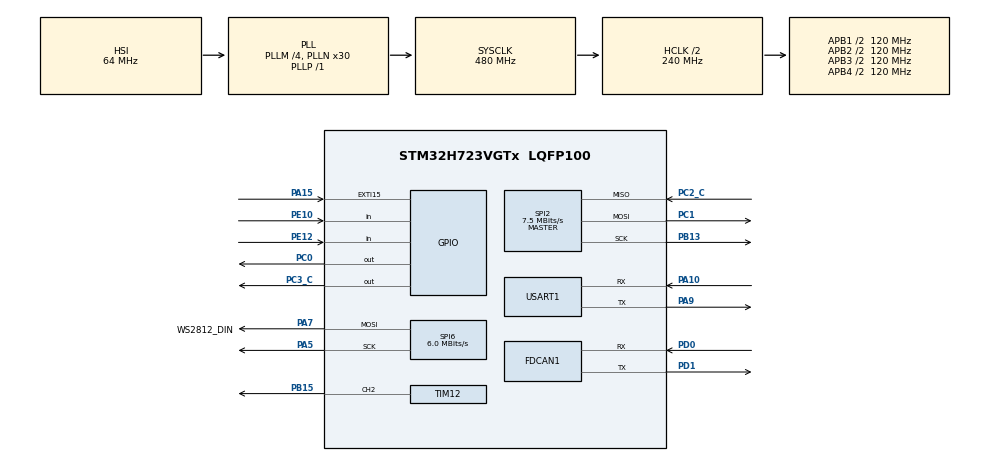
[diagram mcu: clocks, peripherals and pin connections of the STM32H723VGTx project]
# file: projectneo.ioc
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CORTEX_M7.default_mode_Activation=1
FDCAN1.CalculateBaudRateNominal=1000000
FDCAN1.CalculateTimeBitNominal=1000
FDCAN1.CalculateTimeQuantumNominal=41.666666666666664
FDCAN1.DataPrescaler=6
FDCAN1.DataTimeSeg1=29
FDCAN1.DataTimeSeg2=10
FDCAN1.NominalPrescaler=1
FDCAN1.NominalSyncJumpWidth=6
FDCAN1.NominalTimeSeg1=17
FDCAN1.NominalTimeSeg2=6
FDCAN1.RxFifo0ElmtsNbr=3
FDCAN1.TxFifoQueueElmtsNbr=3
FREERTOS.Queues01=can_rxQueue,16,uint16_t,0,Dynamic,NULL,NULL
FREERTOS.Tasks01=Task1,32,512,StartDefaultTask1,Default,NULL,Dynamic,NULL,NULL;Task2,24,512,StartTask2,Default,NULL,Dynamic,NULL,NULL;LEDTask,24,256,StartLEDTask,Default,NULL,Dynamic,NULL,NULL;IMUTask,32,512,StartIMUTask,Default,NULL,Dynamic,NULL,NULL;PIDTask,32,512,StartPIDTask,Default,NULL,Dynamic,NULL,NULL;CANTxTask,32,512,CANTxStartTask,Default,NULL,Dynamic,NULL,NULL;CANRxTask,40,256,CANRxStartTask,Default,NULL,Dynamic,NULL,NULL
FREERTOS.configTOTAL_HEAP_SIZE=32768
Mcu.Family=STM32H7
Mcu.Name=STM32H723VGTx
Mcu.Package=LQFP100
NVIC.EXTI15_10_IRQn=true\:5\:0\:false\:false\:true\:true\:true\:true\:true
NVIC.FDCAN1_IT0_IRQn=true\:5\:0\:false\:false\:true\:true\:true\:true\:true
NVIC.PriorityGroup=NVIC_PRIORITYGROUP_4
NVIC.USART1_IRQn=true\:5\:0\:false\:false\:true\:true\:true\:true\:true
PA10.Mode=Asynchronous
PA10.Signal=USART1_RX
PA13(JTMS/SWDIO).Signal=DEBUG_JTMS-SWDIO
PA14(JTCK/SWCLK).Signal=DEBUG_JTCK-SWCLK
PA15(JTDI).GPIO_PuPd=GPIO_PULLDOWN
PA15(JTDI).Signal=GPXTI15
PA5.GPIO_Speed=GPIO_SPEED_FREQ_HIGH
PA5.Mode=TX_Only_Simplex_Unidirect_Master
PA5.Signal=SPI6_SCK
PA7.GPIO_Label=WS2812_DIN
PA7.GPIO_Speed=GPIO_SPEED_FREQ_HIGH
PA7.Mode=TX_Only_Simplex_Unidirect_Master
PA7.Signal=SPI6_MOSI
PA9.Mode=Asynchronous
PA9.Signal=USART1_TX
PB13.Mode=Full_Duplex_Master
PB13.Signal=SPI2_SCK
PB15.Signal=S_TIM12_CH2
PC0.PinState=GPIO_PIN_SET
PC0.Signal=GPIO_Output
PC1.Mode=Full_Duplex_Master
PC1.Signal=SPI2_MOSI
PC2_C.Mode=Full_Duplex_Master
PC2_C.Signal=SPI2_MISO
PC3_C.PinState=GPIO_PIN_SET
PC3_C.Signal=GPIO_Output
PD0.Mode=FDCAN_Activate
PD0.Signal=FDCAN1_RX
PD1.Mode=FDCAN_Activate
PD1.Signal=FDCAN1_TX
PE10.Signal=GPIO_Input
PE12.Signal=GPIO_Input
PH0-OSC_IN.Mode=HSE-External-Oscillator
PH0-OSC_IN.Signal=RCC_OSC_IN
PH1-OSC_OUT.Mode=HSE-External-Oscillator
PH1-OSC_OUT.Signal=RCC_OSC_OUT
ProjectManager.HeapSize=0x200
ProjectManager.StackSize=0x400
ProjectManager.TargetToolchain=CMake
RCC.ADCFreq_Value=129000000
RCC.APB1Freq_Value=120000000
RCC.APB2Freq_Value=120000000
RCC.APB3Freq_Value=120000000
RCC.APB4Freq_Value=120000000
RCC.CortexFreq_Value=480000000
RCC.D1PPRE=RCC_APB3_DIV2
RCC.D2PPRE1=RCC_APB1_DIV2
RCC.D2PPRE2=RCC_APB2_DIV2
RCC.D3PPRE=RCC_APB4_DIV2
RCC.DIVM1=4
RCC.DIVN1=30
RCC.DIVP1=1
RCC.FDCANCLockSelection=RCC_FDCANCLKSOURCE_HSE
RCC.HCLKFreq_Value=240000000
RCC.HPRE=RCC_HCLK_DIV2
RCC.HSE_VALUE=24000000
RCC.PLL2FRACN=0
RCC.PLL3FRACN=0
RCC.PLLFRACN=0
RCC.SPI6CLockSelection=RCC_SPI6CLKSOURCE_HSE
RCC.SYSCLKFreq_VALUE=480000000
RCC.SYSCLKSource=RCC_SYSCLKSOURCE_PLLCLK
RCC.USBFreq_Value=240000000
SH.S_TIM12_CH2.0=TIM12_CH2,PWM Generation2 CH2
SPI2.BaudRatePrescaler=SPI_BAUDRATEPRESCALER_32
SPI2.CLKPhase=SPI_PHASE_2EDGE
SPI2.CLKPolarity=SPI_POLARITY_HIGH
SPI2.CalculateBaudRate=7.5 MBits/s
SPI2.DataSize=SPI_DATASIZE_8BIT
SPI2.Direction=SPI_DIRECTION_2LINES
SPI2.Mode=SPI_MODE_MASTER
SPI2.VirtualType=VM_MASTER
SPI6.BaudRatePrescaler=SPI_BAUDRATEPRESCALER_4
SPI6.CalculateBaudRate=6.0 MBits/s
SPI6.DataSize=SPI_DATASIZE_8BIT
SPI6.Direction=SPI_DIRECTION_2LINES_TXONLY
SPI6.Mode=SPI_MODE_MASTER
SPI6.VirtualType=VM_MASTER
TIM12.Channel-PWM\ Generation2\ CH2=TIM_CHANNEL_2
TIM12.Prescaler=59
USART1.VirtualMode-Asynchronous=VM_ASYNC
VP_FREERTOS_VS_CMSIS_V2.Mode=CMSIS_V2
VP_MEMORYMAP_VS_MEMORYMAP.Mode=CurAppReg
board=custom

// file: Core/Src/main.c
/* USER CODE BEGIN Header */
/**
  ******************************************************************************
  * @file           : main.c
  * @brief          : Main program body
  ******************************************************************************
  * @attention
  *
  * Copyright (c) 2026 STMicroelectronics.
  * All rights reserved.
  *
  * This software is licensed under terms that can be found in the LICENSE file
  * in the root directory of this software component.
  * If no LICENSE file comes with this software, it is provided AS-IS.
  *
  ******************************************************************************
  */
/* USER CODE END Header */
#include "main.h"
#include "FreeRTOS.h"
#include "cmsis_os2.h"

/* USER CODE BEGIN Includes */
#include "bsp_led.h"
#include "../../Component/ENCODE_WS2812/ws2812_encode.h"
#include "../../BSP/BUZZER/bsp_buzzer.h"
#include "bsp_uart.h"
#include "bsp_imu.h"
#include "bsp_can.h"
#include "pid.h"
#include "gm6020.h"
#include "FreeRTOS.h"
/* USER CODE END Includes */

FDCAN_HandleTypeDef hfdcan1;

SPI_HandleTypeDef hspi2;
SPI_HandleTypeDef hspi6;

TIM_HandleTypeDef htim12;

UART_HandleTypeDef huart1;

/* Definitions for Task1 */
osThreadId_t Task1Handle;
const osThreadAttr_t Task1_attributes = {
  .name = "Task1",
  .stack_size = 512 * 4,
  .priority = (osPriority_t) osPriorityAboveNormal,
};
/* Definitions for Task2 */
osThreadId_t Task2Handle;
const osThreadAttr_t Task2_attributes = {
  .name = "Task2",
  .stack_size = 512 * 4,
  .priority = (osPriority_t) osPriorityNormal,
};
/* Definitions for LEDTask */
osThreadId_t LEDTaskHandle;
const osThreadAttr_t LEDTask_attributes = {
  .name = "LEDTask",
  .stack_size = 256 * 4,
  .priority = (osPriority_t) osPriorityNormal,
};
/* Definitions for IMUTask */
osThreadId_t IMUTaskHandle;
const osThreadAttr_t IMUTask_attributes = {
  .name = "IMUTask",
  .stack_size = 512 * 4,
  .priority = (osPriority_t) osPriorityAboveNormal,
};
/* Definitions for PIDTask */
osThreadId_t PIDTaskHandle;
const osThreadAttr_t PIDTask_attributes = {
  .name = "PIDTask",
  .stack_size = 512 * 4,
  .priority = (osPriority_t) osPriorityAboveNormal,
};
/* Definitions for CANTxTask */
osThreadId_t CANTxTaskHandle;
const osThreadAttr_t CANTxTask_attributes = {
  .name = "CANTxTask",
  .stack_size = 512 * 4,
  .priority = (osPriority_t) osPriorityAboveNormal,
};
/* Definitions for CANRxTask */
osThreadId_t CANRxTaskHandle;
const osThreadAttr_t CANRxTask_attributes = {
  .name = "CANRxTask",
  .stack_size = 256 * 4,
  .priority = (osPriority_t) osPriorityHigh,
};
/* Definitions for can_rxQueue */
osMessageQueueId_t can_rxQueueHandle;
const osMessageQueueAttr_t can_rxQueue_attributes = {
  .name = "can_rxQueue"
};
/* USER CODE BEGIN PV */
extern GM6020_Feedback_t gm6020_feedback_t;
/* USER CODE END PV */

void SystemClock_Config(void);
static void MPU_Config(void);
static void MX_GPIO_Init(void);
static void MX_TIM12_Init(void);
static void MX_USART1_UART_Init(void);
static void MX_SPI6_Init(void);
static void MX_SPI2_Init(void);
static void MX_FDCAN1_Init(void);
void StartDefaultTask1(void *argument);
void StartTask2(void *argument);
void StartLEDTask(void *argument);
void StartIMUTask(void *argument);
void StartPIDTask(void *argument);
void CANTxStartTask(void *argument);
void CANRxStartTask(void *argument);

/* USER CODE BEGIN 0 */
volatile uint32_t flag=0;
uint32_t lost=0,sent=0;
volatile uint16_t motor_cmd_i=0;
/* USER CODE END 0 */

int main(void)
{

  /* MPU Configuration--------------------------------------------------------*/
  MPU_Config();

  /* MCU Configuration--------------------------------------------------------*/

  /* Reset of all peripherals, Initializes the Flash interface and the Systick. */
  HAL_Init();

  /* Configure the system clock */
  SystemClock_Config();

  /* Initialize all configured peripherals */
  MX_GPIO_Init();
  MX_TIM12_Init();
  MX_USART1_UART_Init();
  MX_SPI6_Init();
  MX_SPI2_Init();
  MX_FDCAN1_Init();
  /* USER CODE BEGIN 2 */
  uint8_t tx_byte='D';
  bsp_uart_init();
  bsp_buzzer_init();
  bsp_led_boot();
  bsp_led_set(0,0,255);
  static uint32_t color_tick=0;
  static uint8_t  color_active = 0;
  static uint32_t imu_tick=0;
  uint8_t rx_chunk[32];
  int imu_ret=bsp_imu_init();
  if (imu_ret == 0) imu_ret = bsp_imu_config();
  printf("imu ret=%d\r\n",imu_ret);
  motor_cmd_i=600;//实验室GM6020为电流控制
  /* CAN is started later, after can_rxQueueHandle exists (see RTOS_QUEUES) */
  /* USER CODE END 2 */

  /* Init scheduler */
  osKernelInitialize();

  /* USER CODE BEGIN RTOS_MUTEX */
  /* add mutexes, ... */
  bsp_uart_rtos_init();
  /* USER CODE END RTOS_MUTEX */

  /* Create the queue(s) */
  /* creation of can_rxQueue */
  can_rxQueueHandle = osMessageQueueNew (16, sizeof(CAN_RX_t), &can_rxQueue_attributes);

  /* USER CODE BEGIN RTOS_QUEUES */
  /* add queues, ... */
  /* Start CAN only after the RX queue exists, otherwise early frames are lost
   * and the RX FIFO can end up permanently full. */
  {
    int can_ret = bsp_can_init();
    bsp_uart_printf("can init ret=%d state=%u err=0x%08lX\r\n",
                    can_ret, (unsigned)hfdcan1.State, (unsigned long)hfdcan1.ErrorCode);
  }
  /* USER CODE END RTOS_QUEUES */

  /* Create the thread(s) */
  /* creation of Task1 */
  Task1Handle = osThreadNew(StartDefaultTask1, NULL, &Task1_attributes);

  /* creation of Task2 */
  Task2Handle = osThreadNew(StartTask2, NULL, &Task2_attributes);

  /* creation of LEDTask */
  LEDTaskHandle = osThreadNew(StartLEDTask, NULL, &LEDTask_attributes);

  /* creation of IMUTask */
  IMUTaskHandle = osThreadNew(StartIMUTask, NULL, &IMUTask_attributes);

  /* creation of PIDTask */
  PIDTaskHandle = osThreadNew(StartPIDTask, NULL, &PIDTask_attributes);

  /* creation of CANTxTask */
  CANTxTaskHandle = osThreadNew(CANTxStartTask, NULL, &CANTxTask_attributes);

  /* creation of CANRxTask */
  CANRxTaskHandle = osThreadNew(CANRxStartTask, NULL, &CANRxTask_attributes);

  /* Start scheduler */
  osKernelStart();

  /* We should never get here as control is now taken by the scheduler */

  /* Infinite loop */
  /* USER CODE BEGIN WHILE */
  while (1)
  {
    if (HAL_GetTick()-imu_tick>=1000) {
      imu_tick=HAL_GetTick();
      int16_t a[3],g[3];
      float amg[3],gdps[3];
      if (bsp_imu_read_raw(a,g)==0&&bsp_imu_read_scaled(amg,gdps)==0) {
        printf("A:%d %d %d | mg:%.0f %.0f %.0f | G:%d %d %d | dps:%.1f %.1f %.1f\r\n",
                 a[0],a[1],a[2],amg[0],amg[1],amg[2],
                 g[0],g[1],g[2],gdps[0],gdps[1],gdps[2]);
      }
    }
    bsp_buzzer_tick();
    if (flag==1) {
      int ret=bsp_uart_send(&tx_byte,1);// 只发一次
      if (ret==-1) {
        bsp_led_set(0,255,255);
      } else if (ret==-2) {
        bsp_led_set(0,0,119);
      } else if (ret==0) {
        bsp_led_set(230,145,56);
      }
      color_tick=HAL_GetTick();
      color_active=1;
      bsp_buzzer_beep();
      flag = 0;
    }
    if (color_active && (HAL_GetTick() - color_tick >= 300)) {
      bsp_led_set(0, 0, 255); // 变回蓝色
      color_active = 0;
    }
    int n=bsp_uart_read(rx_chunk, sizeof(rx_chunk));
    if (n>0) {
      bsp_uart_send(rx_chunk, (uint16_t)n);
    }
    /* USER CODE END WHILE */

  }
}

void SystemClock_Config(void)
{
  RCC_OscInitTypeDef RCC_OscInitStruct = {0};
  RCC_ClkInitTypeDef RCC_ClkInitStruct = {0};

  /** Supply configuration update enable
  */
  HAL_PWREx_ConfigSupply(PWR_LDO_SUPPLY);

  /** Configure the main internal regulator output voltage
  */
  __HAL_PWR_VOLTAGESCALING_CONFIG(PWR_REGULATOR_VOLTAGE_SCALE0);

  while(!__HAL_PWR_GET_FLAG(PWR_FLAG_VOSRDY)) {}

  /** Initializes the RCC Oscillators according to the specified parameters
  * in the RCC_OscInitTypeDef structure.
  */
  RCC_OscInitStruct.OscillatorType = RCC_OSCILLATORTYPE_HSI|RCC_OSCILLATORTYPE_HSE;
  RCC_OscInitStruct.HSEState = RCC_HSE_ON;
  RCC_OscInitStruct.HSIState = RCC_HSI_DIV1;
  RCC_OscInitStruct.HSICalibrationValue = 64;
  RCC_OscInitStruct.PLL.PLLState = RCC_PLL_ON;
  RCC_OscInitStruct.PLL.PLLSource = RCC_PLLSOURCE_HSI;
  RCC_OscInitStruct.PLL.PLLM = 4;
  RCC_OscInitStruct.PLL.PLLN = 30;
  RCC_OscInitStruct.PLL.PLLP = 1;
  RCC_OscInitStruct.PLL.PLLQ = 2;
  RCC_OscInitStruct.PLL.PLLR = 2;
  RCC_OscInitStruct.PLL.PLLRGE = RCC_PLL1VCIRANGE_3;
  RCC_OscInitStruct.PLL.PLLVCOSEL = RCC_PLL1VCOWIDE;
  RCC_OscInitStruct.PLL.PLLFRACN = 0;
  if (HAL_RCC_OscConfig(&RCC_OscInitStruct) != HAL_OK)
  {
    Error_Handler();
  }

  /** Initializes the CPU, AHB and APB buses clocks
  */
  RCC_ClkInitStruct.ClockType = RCC_CLOCKTYPE_HCLK|RCC_CLOCKTYPE_SYSCLK
                              |RCC_CLOCKTYPE_PCLK1|RCC_CLOCKTYPE_PCLK2
                              |RCC_CLOCKTYPE_D3PCLK1|RCC_CLOCKTYPE_D1PCLK1;
  RCC_ClkInitStruct.SYSCLKSource = RCC_SYSCLKSOURCE_PLLCLK;
  RCC_ClkInitStruct.SYSCLKDivider = RCC_SYSCLK_DIV1;
  RCC_ClkInitStruct.AHBCLKDivider = RCC_HCLK_DIV2;
  RCC_ClkInitStruct.APB3CLKDivider = RCC_APB3_DIV2;
  RCC_ClkInitStruct.APB1CLKDivider = RCC_APB1_DIV2;
  RCC_ClkInitStruct.APB2CLKDivider = RCC_APB2_DIV2;
  RCC_ClkInitStruct.APB4CLKDivider = RCC_APB4_DIV2;

  if (HAL_RCC_ClockConfig(&RCC_ClkInitStruct, FLASH_LATENCY_3) != HAL_OK)
  {
    Error_Handler();
  }
}

static void MX_FDCAN1_Init(void)
{

  hfdcan1.Instance = FDCAN1;
  hfdcan1.Init.FrameFormat = FDCAN_FRAME_CLASSIC;
  hfdcan1.Init.Mode = FDCAN_MODE_NORMAL;
  hfdcan1.Init.AutoRetransmission = DISABLE;
  hfdcan1.Init.TransmitPause = DISABLE;
  hfdcan1.Init.ProtocolException = DISABLE;
  hfdcan1.Init.NominalPrescaler = 1;
  hfdcan1.Init.NominalSyncJumpWidth = 6;
  hfdcan1.Init.NominalTimeSeg1 = 17;
  hfdcan1.Init.NominalTimeSeg2 = 6;
  hfdcan1.Init.DataPrescaler = 6;
  hfdcan1.Init.DataSyncJumpWidth = 1;
  hfdcan1.Init.DataTimeSeg1 = 29;
  hfdcan1.Init.DataTimeSeg2 = 10;
  hfdcan1.Init.MessageRAMOffset = 0;
  hfdcan1.Init.StdFiltersNbr = 0;
  hfdcan1.Init.ExtFiltersNbr = 0;
  hfdcan1.Init.RxFifo0ElmtsNbr = 3;
  hfdcan1.Init.RxFifo0ElmtSize = FDCAN_DATA_BYTES_8;
  hfdcan1.Init.RxFifo1ElmtsNbr = 0;
  hfdcan1.Init.RxFifo1ElmtSize = FDCAN_DATA_BYTES_8;
  hfdcan1.Init.RxBuffersNbr = 0;
  hfdcan1.Init.RxBufferSize = FDCAN_DATA_BYTES_8;
  hfdcan1.Init.TxEventsNbr = 0;
  hfdcan1.Init.TxBuffersNbr = 0;
  hfdcan1.Init.TxFifoQueueElmtsNbr = 3;
  hfdcan1.Init.TxFifoQueueMode = FDCAN_TX_FIFO_OPERATION;
  hfdcan1.Init.TxElmtSize = FDCAN_DATA_BYTES_8;
  if (HAL_FDCAN_Init(&hfdcan1) != HAL_OK)
  {
    Error_Handler();
  }

}

static void MX_SPI2_Init(void)
{

  /* SPI2 parameter configuration*/
  hspi2.Instance = SPI2;
  hspi2.Init.Mode = SPI_MODE_MASTER;
  hspi2.Init.Direction = SPI_DIRECTION_2LINES;
  hspi2.Init.DataSize = SPI_DATASIZE_8BIT;
  hspi2.Init.CLKPolarity = SPI_POLARITY_HIGH;
  hspi2.Init.CLKPhase = SPI_PHASE_2EDGE;
  hspi2.Init.NSS = SPI_NSS_SOFT;
  hspi2.Init.BaudRatePrescaler = SPI_BAUDRATEPRESCALER_32;
  hspi2.Init.FirstBit = SPI_FIRSTBIT_MSB;
  hspi2.Init.TIMode = SPI_TIMODE_DISABLE;
  hspi2.Init.CRCCalculation = SPI_CRCCALCULATION_DISABLE;
  hspi2.Init.CRCPolynomial = 0x0;
  hspi2.Init.NSSPMode = SPI_NSS_PULSE_ENABLE;
  hspi2.Init.NSSPolarity = SPI_NSS_POLARITY_LOW;
  hspi2.Init.FifoThreshold = SPI_FIFO_THRESHOLD_01DATA;
  hspi2.Init.TxCRCInitializationPattern = SPI_CRC_INITIALIZATION_ALL_ZERO_PATTERN;
  hspi2.Init.RxCRCInitializationPattern = SPI_CRC_INITIALIZATION_ALL_ZERO_PATTERN;
  hspi2.Init.MasterSSIdleness = SPI_MASTER_SS_IDLENESS_00CYCLE;
  hspi2.Init.MasterInterDataIdleness = SPI_MASTER_INTERDATA_IDLENESS_00CYCLE;
  hspi2.Init.MasterReceiverAutoSusp = SPI_MASTER_RX_AUTOSUSP_DISABLE;
  hspi2.Init.MasterKeepIOState = SPI_MASTER_KEEP_IO_STATE_DISABLE;
  hspi2.Init.IOSwap = SPI_IO_SWAP_DISABLE;
  if (HAL_SPI_Init(&hspi2) != HAL_OK)
  {
    Error_Handler();
  }

}

static void MX_SPI6_Init(void)
{

  /* SPI6 parameter configuration*/
  hspi6.Instance = SPI6;
  hspi6.Init.Mode = SPI_MODE_MASTER;
  hspi6.Init.Direction = SPI_DIRECTION_2LINES_TXONLY;
  hspi6.Init.DataSize = SPI_DATASIZE_8BIT;
  hspi6.Init.CLKPolarity = SPI_POLARITY_LOW;
  hspi6.Init.CLKPhase = SPI_PHASE_1EDGE;
  hspi6.Init.NSS = SPI_NSS_SOFT;
  hspi6.Init.BaudRatePrescaler = SPI_BAUDRATEPRESCALER_4;
  hspi6.Init.FirstBit = SPI_FIRSTBIT_MSB;
  hspi6.Init.TIMode = SPI_TIMODE_DISABLE;
  hspi6.Init.CRCCalculation = SPI_CRCCALCULATION_DISABLE;
  hspi6.Init.CRCPolynomial = 0x0;
  hspi6.Init.NSSPMode = SPI_NSS_PULSE_ENABLE;
  hspi6.Init.NSSPolarity = SPI_NSS_POLARITY_LOW;
  hspi6.Init.FifoThreshold = SPI_FIFO_THRESHOLD_01DATA;
  hspi6.Init.TxCRCInitializationPattern = SPI_CRC_INITIALIZATION_ALL_ZERO_PATTERN;
  hspi6.Init.RxCRCInitializationPattern = SPI_CRC_INITIALIZATION_ALL_ZERO_PATTERN;
  hspi6.Init.MasterSSIdleness = SPI_MASTER_SS_IDLENESS_00CYCLE;
  hspi6.Init.MasterInterDataIdleness = SPI_MASTER_INTERDATA_IDLENESS_00CYCLE;
  hspi6.Init.MasterReceiverAutoSusp = SPI_MASTER_RX_AUTOSUSP_DISABLE;
  hspi6.Init.MasterKeepIOState = SPI_MASTER_KEEP_IO_STATE_DISABLE;
  hspi6.Init.IOSwap = SPI_IO_SWAP_DISABLE;
  if (HAL_SPI_Init(&hspi6) != HAL_OK)
  {
    Error_Handler();
  }

}

static void MX_TIM12_Init(void)
{

  TIM_MasterConfigTypeDef sMasterConfig = {0};
  TIM_OC_InitTypeDef sConfigOC = {0};

  htim12.Instance = TIM12;
  htim12.Init.Prescaler = 59;
  htim12.Init.CounterMode = TIM_COUNTERMODE_UP;
  htim12.Init.Period = 65535;
  htim12.Init.ClockDivision = TIM_CLOCKDIVISION_DIV1;
  htim12.Init.AutoReloadPreload = TIM_AUTORELOAD_PRELOAD_DISABLE;
  if (HAL_TIM_PWM_Init(&htim12) != HAL_OK)
  {
    Error_Handler();
  }
  sMasterConfig.MasterOutputTrigger = TIM_TRGO_RESET;
  sMasterConfig.MasterSlaveMode = TIM_MASTERSLAVEMODE_DISABLE;
  if (HAL_TIMEx_MasterConfigSynchronization(&htim12, &sMasterConfig) != HAL_OK)
  {
    Error_Handler();
  }
  sConfigOC.OCMode = TIM_OCMODE_PWM1;
  sConfigOC.Pulse = 0;
  sConfigOC.OCPolarity = TIM_OCPOLARITY_HIGH;
  sConfigOC.OCFastMode = TIM_OCFAST_DISABLE;
  if (HAL_TIM_PWM_ConfigChannel(&htim12, &sConfigOC, TIM_CHANNEL_2) != HAL_OK)
  {
    Error_Handler();
  }
  HAL_TIM_MspPostInit(&htim12);

}

static void MX_USART1_UART_Init(void)
{

  huart1.Instance = USART1;
  huart1.Init.BaudRate = 115200;
  huart1.Init.WordLength = UART_WORDLENGTH_8B;
  huart1.Init.StopBits = UART_STOPBITS_1;
  huart1.Init.Parity = UART_PARITY_NONE;
  huart1.Init.Mode = UART_MODE_TX_RX;
  huart1.Init.HwFlowCtl = UART_HWCONTROL_NONE;
  huart1.Init.OverSampling = UART_OVERSAMPLING_16;
  huart1.Init.OneBitSampling = UART_ONE_BIT_SAMPLE_DISABLE;
  huart1.Init.ClockPrescaler = UART_PRESCALER_DIV1;
  huart1.AdvancedInit.AdvFeatureInit = UART_ADVFEATURE_NO_INIT;
  if (HAL_UART_Init(&huart1) != HAL_OK)
  {
    Error_Handler();
  }
  if (HAL_UARTEx_SetTxFifoThreshold(&huart1, UART_TXFIFO_THRESHOLD_1_8) != HAL_OK)
  {
    Error_Handler();
  }
  if (HAL_UARTEx_SetRxFifoThreshold(&huart1, UART_RXFIFO_THRESHOLD_1_8) != HAL_OK)
  {
    Error_Handler();
  }
  if (HAL_UARTEx_DisableFifoMode(&huart1) != HAL_OK)
  {
    Error_Handler();
  }

}

static void MX_GPIO_Init(void)
{
  GPIO_InitTypeDef GPIO_InitStruct = {0};

  /* GPIO Ports Clock Enable */
  __HAL_RCC_GPIOH_CLK_ENABLE();
  __HAL_RCC_GPIOC_CLK_ENABLE();
  __HAL_RCC_GPIOA_CLK_ENABLE();
  __HAL_RCC_GPIOE_CLK_ENABLE();
  __HAL_RCC_GPIOB_CLK_ENABLE();
  __HAL_RCC_GPIOD_CLK_ENABLE();

  /*Configure GPIO pin Output Level */
  HAL_GPIO_WritePin(GPIOC, GPIO_PIN_0|GPIO_PIN_3, GPIO_PIN_SET);

  /*Configure GPIO pins : PC0 PC3 */
  GPIO_InitStruct.Pin = GPIO_PIN_0|GPIO_PIN_3;
  GPIO_InitStruct.Mode = GPIO_MODE_OUTPUT_PP;
  GPIO_InitStruct.Pull = GPIO_NOPULL;
  GPIO_InitStruct.Speed = GPIO_SPEED_FREQ_LOW;
  HAL_GPIO_Init(GPIOC, &GPIO_InitStruct);

  /*Configure GPIO pins : PE10 PE12 */
  GPIO_InitStruct.Pin = GPIO_PIN_10|GPIO_PIN_12;
  GPIO_InitStruct.Mode = GPIO_MODE_INPUT;
  GPIO_InitStruct.Pull = GPIO_NOPULL;
  HAL_GPIO_Init(GPIOE, &GPIO_InitStruct);

  /*Configure GPIO pin : PA15 */
  GPIO_InitStruct.Pin = GPIO_PIN_15;
  GPIO_InitStruct.Mode = GPIO_MODE_IT_RISING;
  GPIO_InitStruct.Pull = GPIO_PULLDOWN;
  HAL_GPIO_Init(GPIOA, &GPIO_InitStruct);

  /*AnalogSwitch Config */
  HAL_SYSCFG_AnalogSwitchConfig(SYSCFG_SWITCH_PC3, SYSCFG_SWITCH_PC3_CLOSE);

  /* EXTI interrupt init*/
  HAL_NVIC_SetPriority(EXTI15_10_IRQn, 5, 0);
  HAL_NVIC_EnableIRQ(EXTI15_10_IRQn);

}

/* USER CODE BEGIN 4 */
void HAL_GPIO_EXTI_Callback(uint16_t GPIO_Pin) {
  if (GPIO_Pin == GPIO_PIN_15) {
    static uint32_t last_tick = 0;
     uint32_t now = HAL_GetTick();
    if (now-last_tick<100) {
      last_tick = now;
      return ;
    }else {
      last_tick = now;
      flag = 1;
    }
  }

}
/* USER CODE END 4 */

void StartDefaultTask1(void *argument)
{
  /* USER CODE BEGIN 5 */
  /* Infinite loop */
  // uint32_t tick=osKernelGetTickCount();
  // tick=(tick/20U+1U)*20U;
  for(;;)
  {
   // if ((bsp_uart_printf("T1 %lu\r\n",(unsigned long)HAL_GetTick()))==0){
   //    sent++;
   //  }else {
   //    lost++;
   //  }
   //  tick+=20U;
   //  osDelayUntil(tick);
  }
  /* USER CODE END 5 */
}

void StartTask2(void *argument)
{
  /* USER CODE BEGIN StartTask2 */
  /* Infinite loop */
  // uint32_t tick=osKernelGetTickCount();
  // tick=(tick/200U+1U)*200U;
  for(;;)
  {
    // bsp_uart_printf("task2 t=%lu Lyibin is the most handsome in the world %lu\r\n",(unsigned long)HAL_GetTick(),(unsigned long)HAL_GetTick());
    // if ((HAL_GetTick()%1000U)<200U) {
    //   bsp_uart_printf("LOST=%lu SENT=%lu\r\n",(unsigned long)lost,(unsigned long)sent);
    // }
    // tick+=200U;
    // osDelayUntil(tick);
  }
  /* USER CODE END StartTask2 */
}

void StartLEDTask(void *argument)
{
  /* USER CODE BEGIN StartLEDTask */
  /* Infinite loop */
  uint32_t tick=osKernelGetTickCount();
  tick=(tick/500U+1U)*500U;
  for(;;)
  {
    bsp_led_set(0,0,255);
    osDelayUntil(tick+250U);
    bsp_led_set(0,122,123);
    tick+=500U;
    osDelayUntil(tick);
  }
  /* USER CODE END StartLEDTask */
}

void StartIMUTask(void *argument)
{
  /* USER CODE BEGIN StartIMUTask */
  /* Infinite loop */
  uint32_t tick=osKernelGetTickCount();
  uint32_t print_tick=tick;
  tick=(tick/100U+1U)*100U;
  for(;;)
  {
    int16_t a[3],g[3];
    static float amg[3],gdps[3];
    if (bsp_imu_read_raw(a,g)==0) {
      for (int i=0;i<3;i++) {
        amg[i]=a[i]*1000.0f/5460.0f;
        gdps[i]=g[i]/16.384f;
      }
    }
    if (HAL_GetTick()-print_tick>=1000U) {
      print_tick=HAL_GetTick();
      bsp_uart_printf("IMU mg=%0.f %.0f %.0f | dsp=%.1f %.1f %.1f\r\n",amg[0],amg[1],amg[2],gdps[0],gdps[1],gdps[2]);
    }
    tick+=100U;
    osDelayUntil(tick);
  }
  /* USER CODE END StartIMUTask */
}

void StartPIDTask(void *argument)
{
  /* USER CODE BEGIN StartPIDTask */
  /* Infinite loop */
  uint32_t tick=osKernelGetTickCount();
  for(;;)
  {
    pid_ctrl_t pid;
    osDelay(1);
  }
  /* USER CODE END StartPIDTask */
}

void CANTxStartTask(void *argument)
{
  /* USER CODE BEGIN CANTxStartTask */
  /* Infinite loop */
  uint32_t ok=0,bad=0;
  uint32_t print_tick=HAL_GetTick();
  uint32_t tick=osKernelGetTickCount();
  for(;;)
  {
    uint16_t iq=motor_cmd_i;
    uint8_t d[8]={(uint8_t )(iq>>8),(uint8_t)iq,0,0,0,0,0,0};
    int r = bsp_can_send(0x1FE, d, 8);//实验室为电流控制
    if (r == 0) ok++; else bad++;
    hfdcan1.ErrorCode = HAL_FDCAN_ERROR_NONE;

    if (HAL_GetTick() - print_tick >= 1000U) {
      print_tick = HAL_GetTick();
      bsp_uart_printf("TX ok=%lu bad=%lu psr=0x%08lX ecr=0x%08lX\r\n",(unsigned long)ok, (unsigned long)bad,(unsigned long)hfdcan1.Instance->PSR,(unsigned long)hfdcan1.Instance->ECR);
    }
    tick+=1U;
    osDelayUntil(tick);
  }
  /* USER CODE END CANTxStartTask */
}

void CANRxStartTask(void *argument)
{
  /* USER CODE BEGIN CANRxStartTask */
  /* Infinite loop */
  CAN_RX_t rx_message;
  uint32_t print_tick = HAL_GetTick();
  for(;;)
  {
    /* 1000ms timeout: if nothing arrives, report bus diagnostics once per second */
    if (osMessageQueueGet(can_rxQueueHandle, &rx_message, NULL, 1000U) == osOK) {
      if (rx_message.data_len == 8 && rx_message.id == 0x205) {
        GM6020_Parse(&gm6020_feedback_t, rx_message.data);
      }

      /* throttle prints to 500ms: 1kHz feedback would flood the UART */
      if (HAL_GetTick() - print_tick >= 500U) {
        print_tick = HAL_GetTick();
        bsp_uart_printf("GM6020 id=1 angle=%u rpm=%d cur=%d temp=%u\r\n",
                        gm6020_feedback_t.machine_raw_data,
                        gm6020_feedback_t.speed,
                        gm6020_feedback_t.current,
                        gm6020_feedback_t.temperature);
      }
    } else {
      /* no frame for 1s -> show bus state and ISR counters to locate the break */
      extern volatile uint32_t g_can_isr_cnt, g_can_rx_ok, g_can_rx_drop, g_can_rx_fail;
      bsp_uart_printf("CAN idle: err=0x%08lX psr=0x%08lX ecr=0x%08lX isr=%lu ok=%lu drop=%lu fail=%lu\r\n",
                      (unsigned long)hfdcan1.ErrorCode,
                      (unsigned long)hfdcan1.Instance->PSR,
                      (unsigned long)hfdcan1.Instance->ECR,
                      (unsigned long)g_can_isr_cnt,
                      (unsigned long)g_can_rx_ok,
                      (unsigned long)g_can_rx_drop,
                      (unsigned long)g_can_rx_fail);
    }
  }
  /* USER CODE END CANRxStartTask */
}

 /* MPU Configuration */

void MPU_Config(void)
{
  MPU_Region_InitTypeDef MPU_InitStruct = {0};

  /* Disables the MPU */
  HAL_MPU_Disable();

  /** Initializes and configures the Region and the memory to be protected
  */
  MPU_InitStruct.Enable = MPU_REGION_ENABLE;
  MPU_InitStruct.Number = MPU_REGION_NUMBER0;
  MPU_InitStruct.BaseAddress = 0x0;
  MPU_InitStruct.Size = MPU_REGION_SIZE_4GB;
  MPU_InitStruct.SubRegionDisable = 0x87;
  MPU_InitStruct.TypeExtField = MPU_TEX_LEVEL0;
  MPU_InitStruct.AccessPermission = MPU_REGION_NO_ACCESS;
  MPU_InitStruct.DisableExec = MPU_INSTRUCTION_ACCESS_DISABLE;
  MPU_InitStruct.IsShareable = MPU_ACCESS_SHAREABLE;
  MPU_InitStruct.IsCacheable = MPU_ACCESS_NOT_CACHEABLE;
  MPU_InitStruct.IsBufferable = MPU_ACCESS_NOT_BUFFERABLE;

  HAL_MPU_ConfigRegion(&MPU_InitStruct);
  /* Enables the MPU */
  HAL_MPU_Enable(MPU_PRIVILEGED_DEFAULT);

}

void Error_Handler(void)
{
  __disable_irq();
  while (1)
  {
  }
}
